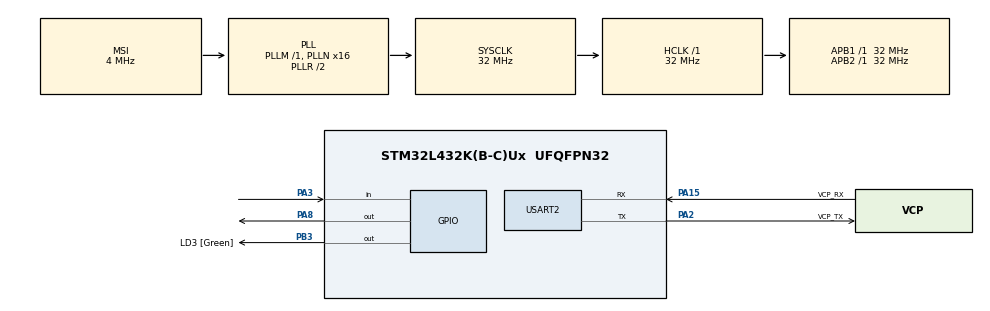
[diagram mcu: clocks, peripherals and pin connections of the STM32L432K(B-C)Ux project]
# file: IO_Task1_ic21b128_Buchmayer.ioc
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Mcu.Family=STM32L4
Mcu.Name=STM32L432K(B-C)Ux
Mcu.Package=UFQFPN32
NVIC.PriorityGroup=NVIC_PRIORITYGROUP_4
PA0.GPIO_Label=MCO [High speed clock in]
PA0.Mode=HSE-External-Clock-Source-for-LittleOrca
PA0.Signal=RCC_CK_IN
PA13\ (JTMS-SWDIO).GPIO_Label=SWDIO
PA13\ (JTMS-SWDIO).Mode=Serial_Wire
PA13\ (JTMS-SWDIO).Signal=SYS_JTMS-SWDIO
PA14\ (JTCK-SWCLK).GPIO_Label=SWCLK
PA14\ (JTCK-SWCLK).Mode=Serial_Wire
PA14\ (JTCK-SWCLK).Signal=SYS_JTCK-SWCLK
PA15\ (JTDI).GPIO_Label=VCP_RX
PA15\ (JTDI).Mode=Asynchronous
PA15\ (JTDI).Signal=USART2_RX
PA2.GPIO_Label=VCP_TX
PA2.Mode=Asynchronous
PA2.Signal=USART2_TX
PA3.Signal=GPIO_Input
PA8.Signal=GPIO_Output
PB3\ (JTDO-TRACESWO).GPIO_Label=LD3 [Green]
PB3\ (JTDO-TRACESWO).Signal=GPIO_Output
PC14-OSC32_IN\ (PC14).Mode=LSE-External-Oscillator
PC14-OSC32_IN\ (PC14).Signal=RCC_OSC32_IN
PC15-OSC32_OUT\ (PC15).Mode=LSE-External-Oscillator
PC15-OSC32_OUT\ (PC15).Signal=RCC_OSC32_OUT
ProjectManager.HeapSize=0x200
ProjectManager.StackSize=0x400
ProjectManager.TargetToolchain=STM32CubeIDE
RCC.AHBFreq_Value=32000000
RCC.APB1Freq_Value=32000000
RCC.APB1TimFreq_Value=32000000
RCC.APB2Freq_Value=32000000
RCC.APB2TimFreq_Value=32000000
RCC.CortexFreq_Value=32000000
RCC.HCLKFreq_Value=32000000
RCC.HSE_VALUE=8000000
RCC.HSI16_VALUE=16000000
RCC.HSI48_VALUE=48000000
RCC.HSI_VALUE=16000000
RCC.MSI_VALUE=4000000
RCC.PLLMUL=RCC_PLLMUL_4
RCC.PLLN=16
RCC.SYSCLKFreq_VALUE=32000000
RCC.SYSCLKSource=RCC_SYSCLKSOURCE_PLLCLK
RCC.VCOOutputFreq_Value=64000000
USART2.VirtualMode-Asynchronous=VM_ASYNC
board=NUCLEO-L432KC

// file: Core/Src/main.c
/* USER CODE BEGIN Header */
/**
  ******************************************************************************
  * @file           : main.c
  * @brief          : Main program body
  ******************************************************************************
  * @attention
  *
  * Copyright (c) 2022 STMicroelectronics.
  * All rights reserved.
  *
  * This software is licensed under terms that can be found in the LICENSE file
  * in the root directory of this software component.
  * If no LICENSE file comes with this software, it is provided AS-IS.
  *
  ******************************************************************************
  */
/* USER CODE END Header */
#include "main.h"

UART_HandleTypeDef huart2;

void SystemClock_Config(void);
static void MX_GPIO_Init(void);
static void MX_USART2_UART_Init(void);

/* USER CODE BEGIN 0 */

uint32_t button_press_start;
uint32_t button_press_dur;
uint32_t debounce = 20; //in milli

int blink_param_on = 100;
int blink_param_off = 15;

void blinky(){
	if(button_press_dur >= 10 && button_press_dur < 1000){
		while(HAL_GPIO_ReadPin(GPIOA, GPIO_PIN_3) == 1){
			HAL_GPIO_WritePin(GPIOA, GPIO_PIN_8, 0); //green LED
			HAL_Delay(blink_param_on);
			HAL_GPIO_WritePin(GPIOA, GPIO_PIN_8, 1);
			HAL_Delay(blink_param_off);
		}
	}

	if(button_press_dur > 1000){
		HAL_GPIO_WritePin(GPIOA, GPIO_PIN_8, 1);
	}

}

void buttoncheck(){
	if(HAL_GPIO_ReadPin(GPIOA, GPIO_PIN_3) == 0){
		button_press_start = HAL_GetTick();
		button_press_dur = 0;

		while(HAL_GPIO_ReadPin(GPIOA, GPIO_PIN_3) == 0){
			button_press_dur++;
			if(button_press_dur > 10){
				button_press_dur = HAL_GetTick() - button_press_start - debounce;
			}
		}
	}

}

/* USER CODE END 0 */

int main(void)
{

  /* MCU Configuration--------------------------------------------------------*/

  /* Reset of all peripherals, Initializes the Flash interface and the Systick. */
  HAL_Init();

  /* Configure the system clock */
  SystemClock_Config();

  /* Initialize all configured peripherals */
  MX_GPIO_Init();
  MX_USART2_UART_Init();

  /* Infinite loop */
  while (1)
  {

    /* USER CODE BEGIN 3 */
	  	HAL_GPIO_WritePin(GPIOA, GPIO_PIN_8, 1);
		buttoncheck();
		blinky();

  }
  /* USER CODE END 3 */
}

void SystemClock_Config(void)
{
  RCC_OscInitTypeDef RCC_OscInitStruct = {0};
  RCC_ClkInitTypeDef RCC_ClkInitStruct = {0};

  /** Configure the main internal regulator output voltage
  */
  if (HAL_PWREx_ControlVoltageScaling(PWR_REGULATOR_VOLTAGE_SCALE1) != HAL_OK)
  {
    Error_Handler();
  }

  /** Configure LSE Drive Capability
  */
  HAL_PWR_EnableBkUpAccess();
  __HAL_RCC_LSEDRIVE_CONFIG(RCC_LSEDRIVE_LOW);

  /** Initializes the RCC Oscillators according to the specified parameters
  * in the RCC_OscInitTypeDef structure.
  */
  RCC_OscInitStruct.OscillatorType = RCC_OSCILLATORTYPE_LSE|RCC_OSCILLATORTYPE_MSI;
  RCC_OscInitStruct.LSEState = RCC_LSE_ON;
  RCC_OscInitStruct.MSIState = RCC_MSI_ON;
  RCC_OscInitStruct.MSICalibrationValue = 0;
  RCC_OscInitStruct.MSIClockRange = RCC_MSIRANGE_6;
  RCC_OscInitStruct.PLL.PLLState = RCC_PLL_ON;
  RCC_OscInitStruct.PLL.PLLSource = RCC_PLLSOURCE_MSI;
  RCC_OscInitStruct.PLL.PLLM = 1;
  RCC_OscInitStruct.PLL.PLLN = 16;
  RCC_OscInitStruct.PLL.PLLP = RCC_PLLP_DIV7;
  RCC_OscInitStruct.PLL.PLLQ = RCC_PLLQ_DIV2;
  RCC_OscInitStruct.PLL.PLLR = RCC_PLLR_DIV2;
  if (HAL_RCC_OscConfig(&RCC_OscInitStruct) != HAL_OK)
  {
    Error_Handler();
  }

  /** Initializes the CPU, AHB and APB buses clocks
  */
  RCC_ClkInitStruct.ClockType = RCC_CLOCKTYPE_HCLK|RCC_CLOCKTYPE_SYSCLK
                              |RCC_CLOCKTYPE_PCLK1|RCC_CLOCKTYPE_PCLK2;
  RCC_ClkInitStruct.SYSCLKSource = RCC_SYSCLKSOURCE_PLLCLK;
  RCC_ClkInitStruct.AHBCLKDivider = RCC_SYSCLK_DIV1;
  RCC_ClkInitStruct.APB1CLKDivider = RCC_HCLK_DIV1;
  RCC_ClkInitStruct.APB2CLKDivider = RCC_HCLK_DIV1;

  if (HAL_RCC_ClockConfig(&RCC_ClkInitStruct, FLASH_LATENCY_1) != HAL_OK)
  {
    Error_Handler();
  }

  /** Enable MSI Auto calibration
  */
  HAL_RCCEx_EnableMSIPLLMode();
}

static void MX_USART2_UART_Init(void)
{

  huart2.Instance = USART2;
  huart2.Init.BaudRate = 115200;
  huart2.Init.WordLength = UART_WORDLENGTH_8B;
  huart2.Init.StopBits = UART_STOPBITS_1;
  huart2.Init.Parity = UART_PARITY_NONE;
  huart2.Init.Mode = UART_MODE_TX_RX;
  huart2.Init.HwFlowCtl = UART_HWCONTROL_NONE;
  huart2.Init.OverSampling = UART_OVERSAMPLING_16;
  huart2.Init.OneBitSampling = UART_ONE_BIT_SAMPLE_DISABLE;
  huart2.AdvancedInit.AdvFeatureInit = UART_ADVFEATURE_NO_INIT;
  if (HAL_UART_Init(&huart2) != HAL_OK)
  {
    Error_Handler();
  }

}

static void MX_GPIO_Init(void)
{
  GPIO_InitTypeDef GPIO_InitStruct = {0};

  /* GPIO Ports Clock Enable */
  __HAL_RCC_GPIOC_CLK_ENABLE();
  __HAL_RCC_GPIOA_CLK_ENABLE();
  __HAL_RCC_GPIOB_CLK_ENABLE();

  /*Configure GPIO pin Output Level */
  HAL_GPIO_WritePin(GPIOA, GPIO_PIN_8, GPIO_PIN_RESET);

  /*Configure GPIO pin Output Level */
  HAL_GPIO_WritePin(LD3_GPIO_Port, LD3_Pin, GPIO_PIN_RESET);

  /*Configure GPIO pin : PA3 */
  GPIO_InitStruct.Pin = GPIO_PIN_3;
  GPIO_InitStruct.Mode = GPIO_MODE_INPUT;
  GPIO_InitStruct.Pull = GPIO_NOPULL;
  HAL_GPIO_Init(GPIOA, &GPIO_InitStruct);

  /*Configure GPIO pin : PA8 */
  GPIO_InitStruct.Pin = GPIO_PIN_8;
  GPIO_InitStruct.Mode = GPIO_MODE_OUTPUT_PP;
  GPIO_InitStruct.Pull = GPIO_NOPULL;
  GPIO_InitStruct.Speed = GPIO_SPEED_FREQ_LOW;
  HAL_GPIO_Init(GPIOA, &GPIO_InitStruct);

  /*Configure GPIO pin : LD3_Pin */
  GPIO_InitStruct.Pin = LD3_Pin;
  GPIO_InitStruct.Mode = GPIO_MODE_OUTPUT_PP;
  GPIO_InitStruct.Pull = GPIO_NOPULL;
  GPIO_InitStruct.Speed = GPIO_SPEED_FREQ_LOW;
  HAL_GPIO_Init(LD3_GPIO_Port, &GPIO_InitStruct);

}

void Error_Handler(void)
{
  __disable_irq();
  while (1)
  {
  }
}
